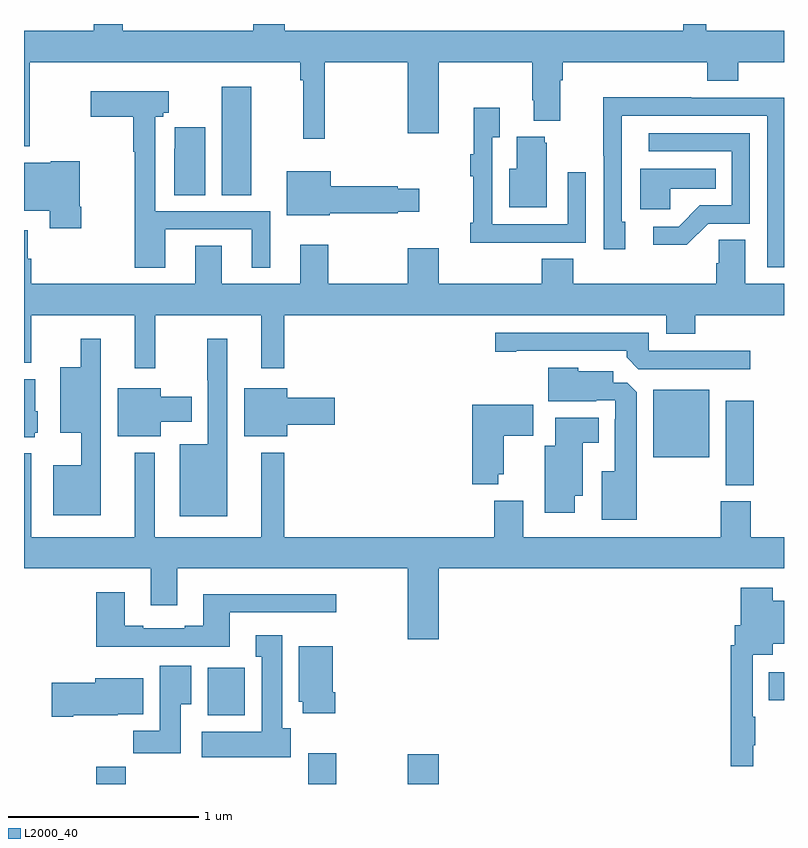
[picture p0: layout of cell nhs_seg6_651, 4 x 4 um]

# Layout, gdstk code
import gdstk
lib = gdstk.Library(unit=1e-6, precision=1e-09)
def R(c, l, rs):  # rectangles x0, y0, x1, y1
    for r in rs: c.add(gdstk.rectangle(r[:2], r[2:], *l))
def P(c, l, *ps):  # polygons
    for p in ps: c.add(gdstk.Polygon(p, *l))
L2000_40 = (2000, 40)

nhs_seg6_651 = lib.new_cell('nhs_seg6_651')
R(nhs_seg6_651, L2000_40, [(151.379,979.5,151.535,979.592), (152.495,979.5,152.643,979.663), (153.02,979.5,153.184,979.657), (151.967,979.862,152.163,980.113), (154.921,979.942,155,980.089), (154.694,981.073,154.841,981.517), (154.313,981.221,154.606,981.574), (152.042,982.6,152.197,983.17)])
P(nhs_seg6_651, L2000_40, [(151.031,983.3),(152.455,983.3),(152.455,983.204),(152.47,983.204),(152.47,982.896),(152.584,982.896),(152.584,983.3),(153.02,983.3),(153.02,982.926),(153.184,982.926),(153.184,983.3),(153.676,983.3),(153.676,983.098),(153.683,983.098),(153.683,982.991),(153.823,982.991),(153.823,983.204),(153.836,983.204),(153.836,983.3),(154.595,983.3),(154.595,983.201),(154.76,983.201),(154.76,983.3),(155,983.3),(155,983.464),(154.591,983.464),(154.591,983.5),(154.469,983.5),(154.469,983.464),(152.372,983.464),(152.372,983.5),(152.207,983.5),(152.207,983.464),(151.52,983.464),(151.52,983.5),(151.367,983.5),(151.367,983.464),(151,983.464),(151,982.856),(151.031,982.856)],
  [(151.744,982.419),(152.198,982.419),(152.198,982.218),(152.296,982.218),(152.296,982.515),(151.692,982.515),(151.692,983.012),(151.734,983.012),(151.734,983.032),(151.763,983.032),(151.763,983.146),(151.35,983.146),(151.35,983.012),(151.576,983.012),(151.576,982.828),(151.584,982.828),(151.584,982.218),(151.744,982.218)],
  [(155,983.112),(154.511,983.112),(154.511,983.114),(154.048,983.114),(154.048,982.807),(154.05,982.807),(154.05,982.314),(154.165,982.314),(154.165,982.458),(154.146,982.458),(154.146,982.762),(154.147,982.762),(154.147,983.016),(154.911,983.016),(154.911,982.221),(155,982.221)],
  [(153.641,982.35),(153.957,982.35),(153.957,982.72),(153.861,982.72),(153.861,982.446),(153.465,982.446),(153.465,982.903),(153.505,982.903),(153.505,983.059),(153.368,983.059),(153.368,982.814),(153.349,982.814),(153.349,982.7),(153.364,982.7),(153.364,982.453),(153.349,982.453),(153.349,982.349),(153.641,982.349)],
  [(151.954,982.957),(151.793,982.957),(151.793,982.844),(151.79,982.844),(151.79,982.6),(151.954,982.6)],
  [(154.602,982.449),(154.821,982.449),(154.821,982.926),(154.287,982.926),(154.287,982.83),(154.725,982.83),(154.725,982.545),(154.556,982.545),(154.445,982.434),(154.311,982.434),(154.311,982.337),(154.489,982.337)],
  [(153.751,982.875),(153.74,982.875),(153.74,982.906),(153.593,982.906),(153.593,982.738),(153.554,982.738),(153.554,982.535),(153.751,982.535)],
  [(151.302,982.537),(151.294,982.537),(151.294,982.777),(151.14,982.777),(151.14,982.771),(151,982.771),(151,982.517),(151.136,982.517),(151.136,982.425),(151.302,982.425)],
  [(154.401,982.634),(154.64,982.634),(154.64,982.738),(154.244,982.738),(154.244,982.526),(154.401,982.526)],
  [(152.61,982.504),(152.966,982.504),(152.966,982.511),(153.079,982.511),(153.079,982.633),(152.966,982.633),(152.966,982.646),(152.614,982.646),(152.614,982.726),(152.384,982.726),(152.384,982.493),(152.61,982.493)],
  [(151.69,981.968),(152.249,981.968),(152.249,981.687),(152.371,981.687),(152.371,981.968),(154.379,981.968),(154.379,981.869),(154.532,981.869),(154.532,981.968),(155,981.968),(155,982.132),(154.795,982.132),(154.795,982.364),(154.656,982.364),(154.656,982.241),(154.643,982.241),(154.643,982.132),(153.89,982.132),(153.89,982.265),(153.725,982.265),(153.725,982.132),(153.184,982.132),(153.184,982.321),(153.02,982.321),(153.02,982.132),(152.601,982.132),(152.601,982.339),(152.453,982.339),(152.453,982.132),(152.041,982.132),(152.041,982.334),(151.901,982.334),(151.901,982.132),(151.039,982.132),(151.039,982.265),(151.021,982.265),(151.021,982.414),(151,982.414),(151,981.716),(151.039,981.716),(151.039,981.968),(151.583,981.968),(151.583,981.687),(151.69,981.687)],
  [(154.822,981.78),(154.287,981.78),(154.287,981.876),(153.48,981.876),(153.48,981.775),(153.592,981.775),(153.592,981.78),(154.172,981.78),(154.172,981.746),(154.233,981.684),(154.822,981.684)],
  [(152.071,981.844),(151.965,981.844),(151.965,981.625),(151.967,981.625),(151.967,981.289),(151.82,981.289),(151.82,980.909),(152.071,980.909)],
  [(151.405,981.844),(151.299,981.844),(151.299,981.694),(151.19,981.694),(151.19,981.35),(151.301,981.35),(151.301,981.178),(151.154,981.178),(151.154,980.915),(151.405,980.915)],
  [(154.225,981.563),(154.176,981.612),(154.102,981.612),(154.102,981.673),(153.918,981.673),(153.918,981.691),(153.758,981.691),(153.758,981.515),(154.013,981.515),(154.013,981.519),(154.113,981.519),(154.113,981.419),(154.109,981.419),(154.109,981.145),(154.04,981.145),(154.04,980.891),(154.225,980.891)],
  [(151.056,981.348),(151.072,981.348),(151.072,981.462),(151.06,981.462),(151.06,981.631),(151,981.631),(151,981.326),(151.056,981.326)],
  [(152.386,981.392),(152.635,981.392),(152.635,981.534),(152.386,981.534),(152.386,981.583),(152.159,981.583),(152.159,981.329),(152.386,981.329)],
  [(151.72,981.407),(151.882,981.407),(151.882,981.537),(151.72,981.537),(151.72,981.583),(151.493,981.583),(151.493,981.329),(151.72,981.329)],
  [(153.496,981.131),(153.526,981.131),(153.526,981.334),(153.679,981.334),(153.679,981.496),(153.359,981.496),(153.359,981.077),(153.496,981.077)],
  [(153.898,981.017),(153.94,981.017),(153.94,981.296),(154.024,981.296),(154.024,981.427),(153.797,981.427),(153.797,981.28),(153.74,981.28),(153.74,980.928),(153.898,980.928)],
  [(153.184,980.636),(155,980.636),(155,980.8),(154.826,980.8),(154.826,980.988),(154.666,980.988),(154.666,980.8),(153.628,980.8),(153.628,980.992),(153.476,980.992),(153.476,980.8),(152.371,980.8),(152.371,981.244),(152.249,981.244),(152.249,980.8),(151.687,980.8),(151.687,981.244),(151.583,981.244),(151.583,980.8),(151.039,980.8),(151.039,981.241),(151,981.241),(151,980.636),(151.667,980.636),(151.667,980.442),(151.807,980.442),(151.807,980.636),(153.02,980.636),(153.02,980.262),(153.184,980.262)],
  [(154.838,979.705),(154.849,979.705),(154.849,979.853),(154.836,979.853),(154.836,980.18),(154.942,980.18),(154.942,980.237),(155,980.237),(155,980.464),(154.942,980.464),(154.942,980.533),(154.772,980.533),(154.772,980.335),(154.74,980.335),(154.74,980.231),(154.72,980.231),(154.72,979.593),(154.838,979.593)],
  [(151.619,980.223),(152.083,980.223),(152.083,980.403),(152.644,980.403),(152.644,980.5),(151.943,980.5),(151.943,980.332),(151.847,980.332),(151.847,980.319),(151.627,980.319),(151.627,980.332),(151.531,980.332),(151.531,980.509),(151.379,980.509),(151.379,980.222),(151.619,980.222)],
  [(152.404,979.794),(152.359,979.794),(152.359,980.284),(152.219,980.284),(152.219,980.171),(152.252,980.171),(152.252,979.774),(151.935,979.774),(151.935,979.64),(152.404,979.64)],
  [(152.639,979.984),(152.626,979.984),(152.626,980.224),(152.447,980.224),(152.447,979.932),(152.468,979.932),(152.468,979.872),(152.639,979.872)],
  [(151.825,979.921),(151.879,979.921),(151.879,980.122),(151.715,980.122),(151.715,979.78),(151.576,979.78),(151.576,979.662),(151.825,979.662)],
  [(151.258,979.862),(151.494,979.862),(151.494,979.868),(151.627,979.868),(151.627,980.056),(151.376,980.056),(151.376,980.033),(151.146,980.033),(151.146,979.855),(151.258,979.855)])

lib.write_gds('nhs_seg6_651.gds')
